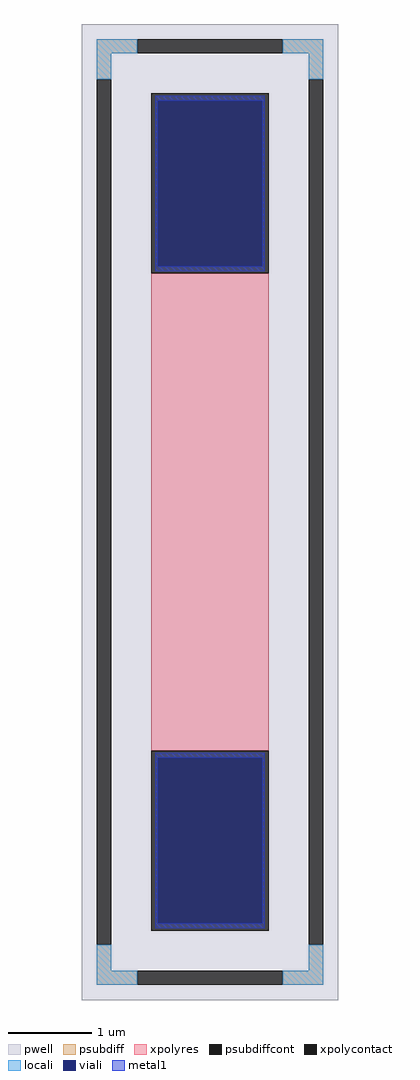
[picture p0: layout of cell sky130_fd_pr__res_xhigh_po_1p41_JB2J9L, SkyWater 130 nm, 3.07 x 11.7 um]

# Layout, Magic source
magic
tech sky130A
magscale 1 2
<< pwell >>
rect -307 -1170 307 1170
<< psubdiff >>
rect -271 1100 -175 1134
rect 175 1100 271 1134
rect -271 1038 -237 1100
rect 237 1038 271 1100
rect -271 -1100 -237 -1038
rect 237 -1100 271 -1038
rect -271 -1134 -175 -1100
rect 175 -1134 271 -1100
<< psubdiffcont >>
rect -175 1100 175 1134
rect -271 -1038 -237 1038
rect 237 -1038 271 1038
rect -175 -1134 175 -1100
<< xpolycontact >>
rect -141 572 141 1004
rect -141 -1004 141 -572
<< xpolyres >>
rect -141 -572 141 572
<< locali >>
rect -271 1100 -175 1134
rect 175 1100 271 1134
rect -271 1038 -237 1100
rect 237 1038 271 1100
rect -271 -1100 -237 -1038
rect 237 -1100 271 -1038
rect -271 -1134 -175 -1100
rect 175 -1134 271 -1100
<< viali >>
rect -125 589 125 986
rect -125 -986 125 -589
<< metal1 >>
rect -131 986 131 998
rect -131 589 -125 986
rect 125 589 131 986
rect -131 577 131 589
rect -131 -589 131 -577
rect -131 -986 -125 -589
rect 125 -986 131 -589
rect -131 -998 131 -986
<< properties >>
string FIXED_BBOX -254 -1117 254 1117
string gencell sky130_fd_pr__res_xhigh_po_1p41
string library sky130
string parameters w 1.410 l 5.884 m 1 nx 1 wmin 1.410 lmin 0.50 rho 2000 val 8.613k dummy 0 dw 0.0 term 188.2 sterm 0.0 caplen 0 wmax 1.410 guard 1 glc 1 grc 1 gtc 1 gbc 1 compatible {sky130_fd_pr__res_xhigh_po_0p35  sky130_fd_pr__res_xhigh_po_0p69 sky130_fd_pr__res_xhigh_po_1p41  sky130_fd_pr__res_xhigh_po_2p85 sky130_fd_pr__res_xhigh_po_5p73} snake 0 full_metal 1 n_guard 0 hv_guard 0 vias 1 viagb 0 viagt 0 viagl 0 viagr 0
<< end >>
